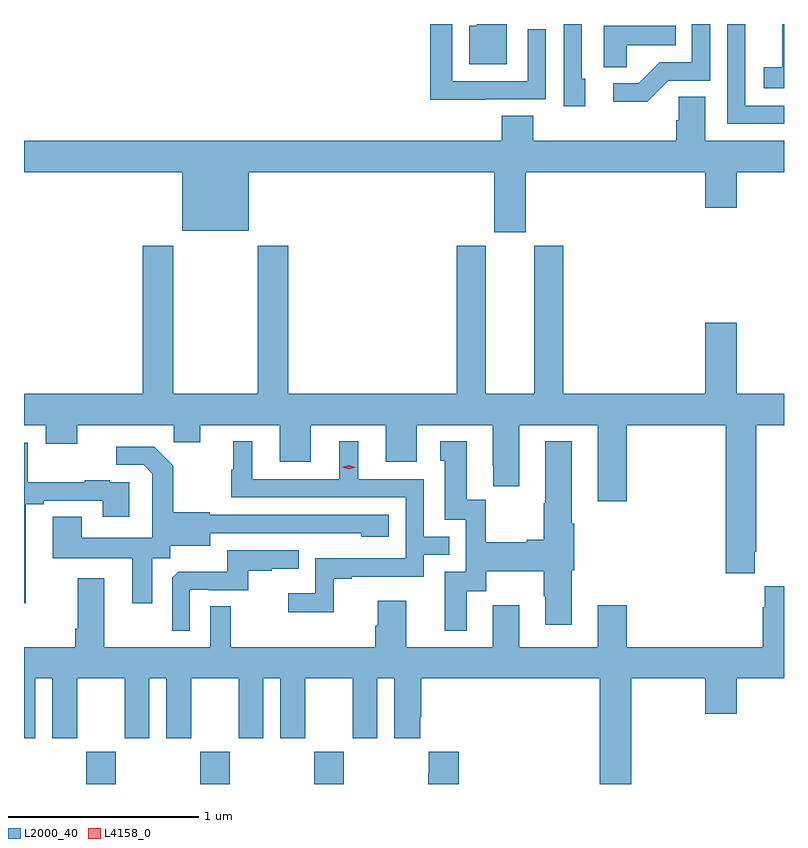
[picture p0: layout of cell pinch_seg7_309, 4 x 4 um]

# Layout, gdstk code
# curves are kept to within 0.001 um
import gdstk
lib = gdstk.Library(unit=1e-6, precision=1e-09)
def R(c, l, rs):  # rectangles x0, y0, x1, y1
    for r in rs: c.add(gdstk.rectangle(r[:2], r[2:], *l))
def A(c, l, x, y, w, h, nx, ny, dx, dy):  # array of equal rectangles
    R(c, l, [(x+i*dx, y+j*dy, x+i*dx+w, y+j*dy+h) for i in range(nx) for j in range(ny)])
def P(c, l, *ps):  # polygons
    for p in ps: c.add(gdstk.Polygon(p, *l))
L2000_40 = (2000, 40)
L4158_0 = (4158, 0)

pinch_seg7_309 = lib.new_cell('pinch_seg7_309')
A(pinch_seg7_309, L2000_40, 497.413, 1050.675, 0.155, 0.169, 3, 1, 0.6, 0)
P(pinch_seg7_309, L2000_40, [(499.627,1054.675),(499.469,1054.675),(499.469,1054.666),(499.43,1054.666),(499.43,1054.463),(499.627,1054.463)],
  [(499.517,1054.278),(499.833,1054.278),(499.833,1054.648),(499.737,1054.648),(499.737,1054.374),(499.341,1054.374),(499.341,1054.675),(499.225,1054.675),(499.225,1054.277),(499.517,1054.277)],
  [(501.086,1054.675),(501.077,1054.675),(501.077,1054.447),(500.979,1054.447),(500.979,1054.337),(501.086,1054.337)],
  [(500.478,1054.377),(500.697,1054.377),(500.697,1054.675),(500.601,1054.675),(500.601,1054.473),(500.432,1054.473),(500.321,1054.362),(500.187,1054.362),(500.187,1054.265),(500.365,1054.265)],
  [(501.086,1054.245),(500.883,1054.245),(500.883,1054.675),(500.787,1054.675),(500.787,1054.149),(501.086,1054.149)],
  [(500.041,1054.386),(500.022,1054.386),(500.022,1054.675),(499.926,1054.675),(499.926,1054.242),(500.041,1054.242)],
  [(500.259,1054.562),(500.516,1054.562),(500.516,1054.666),(500.138,1054.666),(500.138,1054.447),(500.259,1054.447)],
  [(499.726,1053.896),(500.672,1053.896),(500.672,1053.708),(500.836,1053.708),(500.836,1053.896),(501.086,1053.896),(501.086,1054.06),(500.671,1054.06),(500.671,1054.292),(500.532,1054.292),(500.532,1054.169),(500.519,1054.169),(500.519,1054.06),(499.766,1054.06),(499.766,1054.193),(499.601,1054.193),(499.601,1054.06),(497.086,1054.06),(497.086,1053.896),(497.918,1053.896),(497.918,1053.587),(498.268,1053.587),(498.268,1053.896),(499.562,1053.896),(499.562,1053.579),(499.726,1053.579)],
  [(500.933,1051.897),(500.94,1051.897),(500.94,1052.564),(501.086,1052.564),(501.086,1052.728),(500.836,1052.728),(500.836,1053.103),(500.672,1053.103),(500.672,1052.728),(499.925,1052.728),(499.925,1053.507),(499.772,1053.507),(499.772,1052.728),(499.516,1052.728),(499.516,1053.507),(499.364,1053.507),(499.364,1052.728),(498.476,1052.728),(498.476,1053.508),(498.316,1053.508),(498.316,1052.728),(497.871,1052.728),(497.871,1053.508),(497.711,1053.508),(497.711,1052.728),(497.086,1052.728),(497.086,1052.564),(497.201,1052.564),(497.201,1052.465),(497.365,1052.465),(497.365,1052.564),(497.875,1052.564),(497.875,1052.474),(498.013,1052.474),(498.013,1052.564),(498.431,1052.564),(498.431,1052.37),(498.595,1052.37),(498.595,1052.564),(498.989,1052.564),(498.989,1052.37),(499.153,1052.37),(499.153,1052.564),(499.553,1052.564),(499.553,1052.353),(499.556,1052.353),(499.556,1052.241),(499.693,1052.241),(499.693,1052.564),(500.105,1052.564),(500.105,1052.163),(500.258,1052.163),(500.258,1052.564),(500.78,1052.564),(500.78,1051.785),(500.933,1051.785)],
  [(499.417,1051.69),(499.519,1051.69),(499.519,1051.796),(499.822,1051.796),(499.822,1051.662),(499.829,1051.662),(499.829,1051.512),(499.969,1051.512),(499.969,1051.8),(499.982,1051.8),(499.982,1052.044),(499.969,1052.044),(499.969,1052.479),(499.829,1052.479),(499.829,1052.153),(499.822,1052.153),(499.822,1051.961),(499.733,1051.961),(499.733,1051.948),(499.515,1051.948),(499.515,1052.171),(499.417,1052.171),(499.417,1052.479),(499.277,1052.479),(499.277,1052.376),(499.301,1052.376),(499.301,1052.067),(499.41,1052.067),(499.41,1051.791),(499.301,1051.791),(499.301,1051.482),(499.417,1051.482)],
  [(498.717,1051.755),(498.811,1051.755),(498.811,1051.767),(499.191,1051.767),(499.191,1051.881),(499.325,1051.881),(499.325,1051.977),(499.191,1051.977),(499.191,1052.28),(498.844,1052.28),(498.844,1052.479),(498.746,1052.479),(498.746,1052.28),(498.286,1052.28),(498.286,1052.479),(498.188,1052.479),(498.188,1052.328),(498.177,1052.328),(498.177,1052.184),(499.095,1052.184),(499.095,1051.863),(498.618,1051.863),(498.618,1051.678),(498.477,1051.678),(498.477,1051.58),(498.717,1051.58)],
  [(497.095,1052.148),(497.191,1052.148),(497.191,1052.166),(497.501,1052.166),(497.501,1052.082),(497.641,1052.082),(497.641,1052.262),(497.537,1052.262),(497.537,1052.275),(497.405,1052.275),(497.405,1052.264),(497.107,1052.264),(497.107,1052.472),(497.086,1052.472),(497.086,1051.626),(497.095,1051.626)],
  [(497.761,1051.864),(497.856,1051.864),(497.856,1051.928),(498.067,1051.928),(498.067,1051.995),(498.861,1051.994),(498.861,1051.976),(499.006,1051.976),(499.006,1052.091),(498.063,1052.091),(498.063,1052.104),(497.871,1052.104),(497.871,1052.349),(497.771,1052.449),(497.571,1052.449),(497.571,1052.355),(497.715,1052.355),(497.762,1052.308),(497.762,1052.213),(497.76,1052.213),(497.76,1051.972),(497.389,1051.972),(497.389,1052.081),(497.237,1052.081),(497.237,1051.862),(497.657,1051.862),(497.657,1051.626),(497.761,1051.626)],
  [(497.958,1051.698),(498.058,1051.698),(498.058,1051.695),(498.266,1051.695),(498.266,1051.797),(498.389,1051.797),(498.389,1051.808),(498.533,1051.808),(498.533,1051.905),(498.156,1051.905),(498.156,1051.793),(497.897,1051.793),(497.865,1051.761),(497.865,1051.481),(497.958,1051.481)],
  [(500.281,1051.232),(500.672,1051.232),(500.672,1051.044),(500.836,1051.044),(500.836,1051.232),(501.086,1051.232),(501.086,1051.717),(500.984,1051.717),(500.984,1051.604),(500.975,1051.604),(500.975,1051.396),(500.258,1051.396),(500.258,1051.615),(500.105,1051.615),(500.105,1051.396),(499.693,1051.396),(499.693,1051.615),(499.553,1051.615),(499.553,1051.396),(499.099,1051.396),(499.099,1051.639),(498.947,1051.639),(498.947,1051.509),(498.935,1051.509),(498.935,1051.396),(498.175,1051.396),(498.175,1051.61),(498.066,1051.61),(498.066,1051.396),(497.509,1051.396),(497.509,1051.759),(497.369,1051.759),(497.369,1051.492),(497.357,1051.492),(497.357,1051.396),(497.086,1051.396),(497.086,1050.915),(497.146,1050.915),(497.146,1051.232),(497.234,1051.232),(497.234,1050.915),(497.365,1050.915),(497.365,1051.232),(497.615,1051.232),(497.615,1050.915),(497.746,1050.915),(497.746,1051.232),(497.834,1051.232),(497.834,1050.915),(497.965,1050.915),(497.965,1051.232),(498.215,1051.232),(498.215,1050.915),(498.346,1050.915),(498.346,1051.232),(498.434,1051.232),(498.434,1050.915),(498.565,1050.915),(498.565,1051.232),(498.815,1051.232),(498.815,1050.915),(498.946,1050.915),(498.946,1051.232),(499.034,1051.232),(499.034,1050.915),(499.171,1050.915),(499.171,1051.027),(499.178,1051.027),(499.178,1051.232),(500.117,1051.232),(500.117,1050.675),(500.281,1050.675)],
  [(499.373,1050.844),(499.217,1050.844),(499.217,1050.731),(499.213,1050.731),(499.213,1050.675),(499.373,1050.675)])
P(pinch_seg7_309, L4158_0, [(498.795,1052.332),(498.759,1052.341),(498.759,1052.342),(498.759,1052.342),(498.795,1052.352),(498.831,1052.342),(498.831,1052.342),(498.831,1052.341)])

lib.write_gds('pinch_seg7_309.gds')
